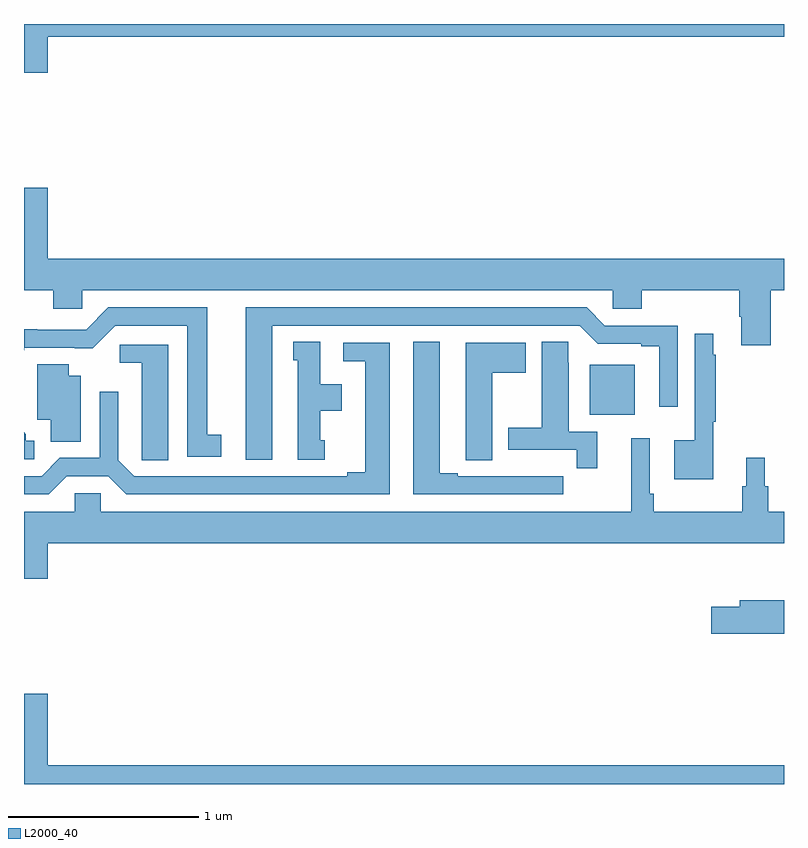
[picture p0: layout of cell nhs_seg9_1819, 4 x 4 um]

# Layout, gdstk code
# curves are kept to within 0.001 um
import gdstk
lib = gdstk.Library(unit=1e-6, precision=1e-09)
def R(c, l, rs):  # rectangles x0, y0, x1, y1
    for r in rs: c.add(gdstk.rectangle(r[:2], r[2:], *l))
def P(c, l, *ps):  # polygons
    for p in ps: c.add(gdstk.Polygon(p, *l))
L2000_40 = (2000, 40)

nhs_seg9_1819 = lib.new_cell('nhs_seg9_1819')
R(nhs_seg9_1819, L2000_40, [(215.978,1182.443,216.214,1182.706)])
P(nhs_seg9_1819, L2000_40, [(213.124,1184.432),(217,1184.432),(217,1184.5),(213,1184.5),(213,1184.244),(213.124,1184.244)],
  [(216.929,1183.1),(217,1183.1),(217,1183.264),(213.124,1183.264),(213.124,1183.639),(213,1183.639),(213,1183.1),(213.155,1183.1),(213.155,1183.002),(213.306,1183.002),(213.306,1183.1),(216.099,1183.1),(216.099,1183.002),(216.251,1183.002),(216.251,1183.1),(216.764,1183.1),(216.764,1182.958),(216.776,1182.958),(216.776,1182.81),(216.929,1182.81)],
  [(214.306,1182.912),(215.925,1182.912),(216.021,1182.816),(216.248,1182.816),(216.248,1182.804),(216.344,1182.804),(216.344,1182.486),(216.441,1182.486),(216.441,1182.912),(216.057,1182.912),(215.961,1183.008),(214.166,1183.008),(214.166,1182.207),(214.306,1182.207)],
  [(214.039,1182.338),(213.964,1182.338),(213.964,1183.008),(213.444,1183.008),(213.327,1182.891),(213.071,1182.891),(213.071,1182.893),(213,1182.893),(213.001,1182.783),(213.001,1182.795),(213.362,1182.794),(213.48,1182.912),(213.86,1182.912),(213.86,1182.222),(214.039,1182.222)],
  [(216.628,1182.406),(216.64,1182.406),(216.64,1182.758),(216.628,1182.758),(216.628,1182.871),(216.531,1182.871),(216.531,1182.31),(216.422,1182.31),(216.422,1182.104),(216.628,1182.104)],
  [(216.017,1182.354),(215.866,1182.354),(215.866,1182.716),(215.865,1182.716),(215.865,1182.827),(215.726,1182.827),(215.726,1182.375),(215.549,1182.375),(215.549,1182.258),(215.908,1182.258),(215.908,1182.162),(216.017,1182.162)],
  [(214.582,1182.309),(214.558,1182.309),(214.558,1182.464),(214.672,1182.464),(214.672,1182.604),(214.558,1182.604),(214.558,1182.827),(214.418,1182.827),(214.418,1182.729),(214.442,1182.729),(214.442,1182.207),(214.582,1182.207)],
  [(215.839,1182.12),(215.726,1182.12),(215.726,1182.121),(215.56,1182.121),(215.56,1182.12),(215.284,1182.12),(215.284,1182.135),(215.188,1182.135),(215.188,1182.827),(215.048,1182.827),(215.048,1182.024),(215.839,1182.024)],
  [(215.464,1182.664),(215.641,1182.664),(215.641,1182.823),(215.324,1182.823),(215.324,1182.313),(215.325,1182.313),(215.325,1182.205),(215.464,1182.205)],
  [(213.225,1182.12),(213.443,1182.12),(213.539,1182.024),(214.924,1182.024),(214.924,1182.822),(214.68,1182.822),(214.68,1182.726),(214.796,1182.726),(214.796,1182.14),(214.7,1182.14),(214.7,1182.12),(213.579,1182.12),(213.495,1182.204),(213.495,1182.565),(213.399,1182.565),(213.399,1182.216),(213.189,1182.216),(213.093,1182.12),(213,1182.12),(213,1182.024),(213.129,1182.024)],
  [(213.76,1182.813),(213.504,1182.813),(213.504,1182.716),(213.62,1182.716),(213.62,1182.313),(213.621,1182.313),(213.621,1182.205),(213.76,1182.205)],
  [(213.298,1182.649),(213.235,1182.649),(213.235,1182.71),(213.071,1182.71),(213.071,1182.416),(213.14,1182.416),(213.14,1182.301),(213.298,1182.301)],
  [(213.055,1182.306),(213.01,1182.306),(213.01,1182.341),(213,1182.351),(213,1182.21),(213.055,1182.21)],
  [(213.124,1181.768),(217,1181.768),(217,1181.932),(216.917,1181.932),(216.917,1182.066),(216.898,1182.066),(216.898,1182.217),(216.8,1182.217),(216.8,1182.066),(216.781,1182.066),(216.781,1181.932),(216.314,1181.932),(216.314,1182.028),(216.294,1182.028),(216.294,1182.319),(216.197,1182.319),(216.197,1181.932),(213.405,1181.932),(213.405,1182.03),(213.267,1182.03),(213.267,1181.932),(213,1181.932),(213,1181.58),(213.124,1181.58)],
  [(217,1181.467),(216.767,1181.467),(216.767,1181.433),(216.618,1181.433),(216.618,1181.291),(217,1181.291)],
  [(217,1180.6),(213.124,1180.6),(213.124,1180.975),(213,1180.975),(213,1180.5),(217,1180.5)])

lib.write_gds('nhs_seg9_1819.gds')
